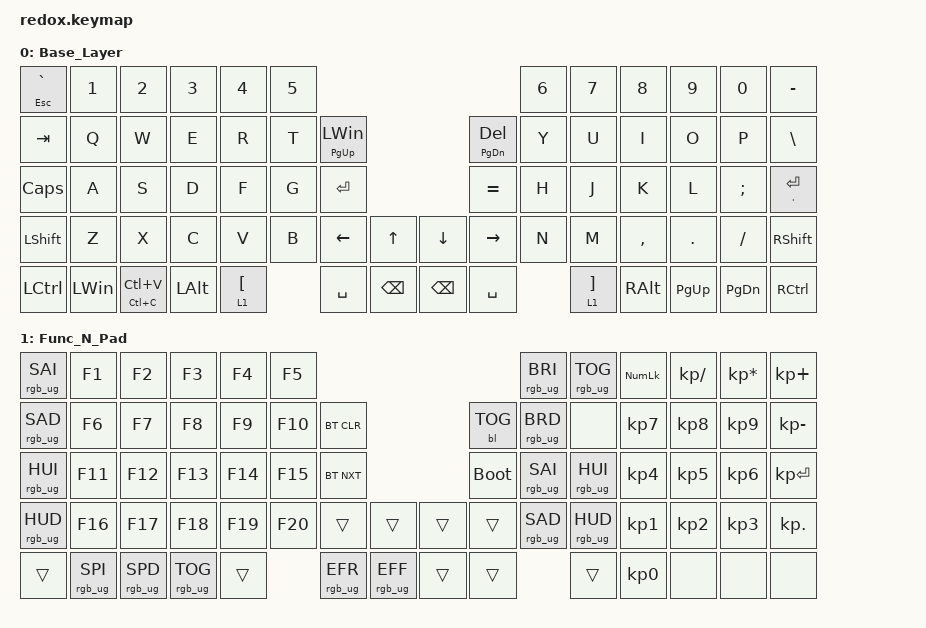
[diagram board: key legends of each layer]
/*
 * Copyright (c) 2021 The ZMK Contributors
 *
 * SPDX-License-Identifier: MIT
 */

#include <behaviors.dtsi>
#include <dt-bindings/zmk/backlight.h>
#include <dt-bindings/zmk/bt.h>
#include <dt-bindings/zmk/keys.h>
#include <dt-bindings/zmk/rgb.h>

/ {
    keymap {
        compatible = "zmk,keymap";

        Base_Layer {
            // --------------------------------------------------------------------------------------------------------------------------------
            // | ESC   |  1  |  2  |   3   |  4  |  5  |                   ---                |  6    |  7    |  8    |  9   | 0  |    BKSP   |
            // | TAB   |  Q  |  W  |   E   |  R  |  T  |   (   |           ---        |  )    |  Y    |  U    |  I    |  O   | P  |     -     |
            // | CTRL  |  A  |  S  |   D   |  F  |  G  |   [   |           ---        |  ]    |  H    |  J    |  K    |  L   | ;  |     '     |
            // | SHIFT |  Z  |  X  |   C   |  V  |  B  | PG_UP | PG_DOWN | --- | HOME | END   |  N    |  M    |  ,    |  .   | /  | SHFT(RET) |
            // | CRTL  | ALT | GUI | LOWER |    GUI    | LOWER | SPACE   | --- | DEL  | SPACE |     RAISE     | LEFT  | DOWN | UP |   RIGHT   |

            bindings = <
&mt ESCAPE GRAVE  &kp N1        &kp N2           &kp N3        &kp N4              &kp N5                                                                             &kp N6  &kp N7               &kp N8     &kp N9       &kp N0         &kp MINUS
&kp TAB           &kp Q         &kp W            &kp E         &kp R               &kp T   &mt PG_UP LEFT_WIN                                   &mt PAGE_DOWN DELETE  &kp Y   &kp U                &kp I      &kp O        &kp P          &kp BACKSLASH
&kp CAPS          &kp A         &kp S            &kp D         &kp F               &kp G   &kp ENTER                                            &kp EQUAL             &kp H   &kp J                &kp K      &kp L        &kp SEMI       &mt APOS ENTER
&kp LSHFT         &kp Z         &kp X            &kp C         &kp V               &kp B   &kp LEFT_ARROW      &kp UP_ARROW     &kp DOWN_ARROW  &kp RIGHT_ARROW       &kp N   &kp M                &kp COMMA  &kp DOT      &kp SLASH      &kp RIGHT_SHIFT
&kp LCTRL         &kp LEFT_WIN  &mt LC(C) LC(V)  &kp LEFT_ALT  &lt 1 LEFT_BRACKET          &kp SPACE           &kp BACKSPACE    &kp BACKSPACE   &kp SPACE                     &lt 1 RIGHT_BRACKET  &kp RALT   &kp PAGE_UP  &kp PAGE_DOWN  &kp RCTRL
            >;
        };

        Func_N_Pad {
            // --------------------------------------------------------------------------------------------------------------------------
            // | ESC   |  1  |  2  |   3   |   4   |  5  |                   ---              |  6  |  7  |   8  |  9   |  0  |  DEL  |
            // | ESC   |  1  |  2  |   3   |   4   |  5  |   (   |           ---        |  )  |  6  |  7  |   8  |  9   |  0  |  DEL  |
            // | CTRL  |  -  |  =  |   [   |   ]   |  \  |   [   |           ---        |  ]  |  *  |  4  |   5  |  6   |  +  |   -   |
            // | SHIFT | ESC | GUI | COPY  | PASTE |     | PG_UP | PG_DOWN | --- | HOME | END |  \  |  1  |   2  |  3   | RET |  RET  |
            // | CRTL  | ALT | GUI | LOWER |     GUI     | LOWER | SPACE   | --- | DEL  |  0  |    RAISE  | LEFT | DOWN | UP  | RIGHT |

            bindings = <
&rgb_ug RGB_SAI  &kp F1           &kp F2           &kp F3           &kp F4   &kp F5                                                            &rgb_ug RGB_BRI  &rgb_ug RGB_TOG  &kp KP_NUMLOCK   &kp KP_DIVIDE  &kp KP_ASTERISK  &kp KP_PLUS
&rgb_ug RGB_SAD  &kp F6           &kp F7           &kp F8           &kp F9   &kp F10  &bt BT_CLR                                  &bl BL_TOG   &rgb_ug RGB_BRD  &none            &kp KP_N7        &kp KP_N8      &kp KP_N9        &kp KP_MINUS
&rgb_ug RGB_HUI  &kp F11          &kp F12          &kp F13          &kp F14  &kp F15  &bt BT_NXT                                  &bootloader  &rgb_ug RGB_SAI  &rgb_ug RGB_HUI  &kp KP_N4        &kp KP_N5      &kp KP_N6        &kp KP_ENTER
&rgb_ug RGB_HUD  &kp F16          &kp F17          &kp F18          &kp F19  &kp F20  &trans           &trans             &trans  &trans       &rgb_ug RGB_SAD  &rgb_ug RGB_HUD  &kp KP_N1        &kp KP_N2      &kp KP_N3        &kp KP_DOT
&trans           &rgb_ug RGB_SPI  &rgb_ug RGB_SPD  &rgb_ug RGB_TOG  &trans            &rgb_ug RGB_EFR  &rgb_ug RGB_EFF    &trans  &trans                        &trans           &kp KP_NUMBER_0  &none          &none            &none
            >;
        };
    };
};
